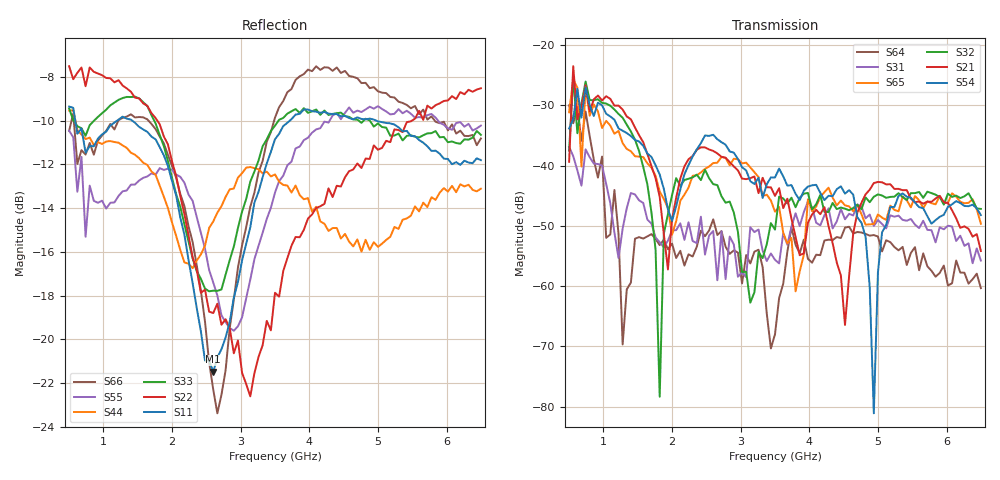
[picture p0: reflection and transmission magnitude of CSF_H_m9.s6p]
!Keysight Technologies,M9804A,MY58100912,A.14.10.03
!Date: Thursday, April 27, 2023 10:28:33
!Correction: S11(C  6-Port  )
!S12(C  6-Port  )
!S13(C  6-Port  )
!S14(C  6-Port  )
!S15(C  6-Port  )
!S16(C  6-Port  )
!S21(C  6-Port  )
!S22(C  6-Port  )
!S23(C  6-Port  )
!S24(C  6-Port  )
!S25(C  6-Port  )
!S26(C  6-Port  )
!S31(C  6-Port  )
!S32(C  6-Port  )
!S33(C  6-Port  )
!S34(C  6-Port  )
!S35(C  6-Port  )
!S36(C  6-Port  )
!S41(C  6-Port  )
!S42(C  6-Port  )
!S43(C  6-Port  )
!S44(C  6-Port  )
!S45(C  6-Port  )
!S46(C  6-Port  )
!S51(C  6-Port  )
!S52(C  6-Port  )
!S53(C  6-Port  )
!S54(C  6-Port  )
!S55(C  6-Port  )
!S56(C  6-Port  )
!S61(C  6-Port  )
!S62(C  6-Port  )
!S63(C  6-Port  )
!S64(C  6-Port  )
!S65(C  6-Port  )
!S66(C  6-Port  )
!S6P File: Measurement: :
# Hz S  RI  R 50
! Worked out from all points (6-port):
!   101 points, 500 MHz to 6.5 GHz, reference 50 ohm
!   strongest paths, dB at 500 MHz, 2 GHz, 3.5 GHz, 5 GHz, 6.5 GHz:
!     S54: -33.9, -49.2, -42.0, -57.7, -48.2
!     S21: -39.4, -48.9, -45.0, -42.7, -54.2
!     S32: -37.5, -44.9, -50.6, -44.8, -47.2
!     S65: -31.2, -51.5, -47.7, -48.1, -49.7
!     S31: -36.9, -50.8, -55.6, -49.0, -55.8
!     S64: -30.0, -53.0, -68.0, -51.8, -60.4
!   lowest |S11| = -21.5 dB at 2.6 GHz (marker M1), VSWR 1.18, Z = 42.5 + j2.2 ohm
!   |S11| at or under -10 dB: 589.7 MHz to 1.198 GHz (607.9 MHz wide, 68 % of centre); 1.421 GHz to 3.715 GHz (2.294 GHz wide, 89.4 % of centre); 4.977 GHz to end of sweep
